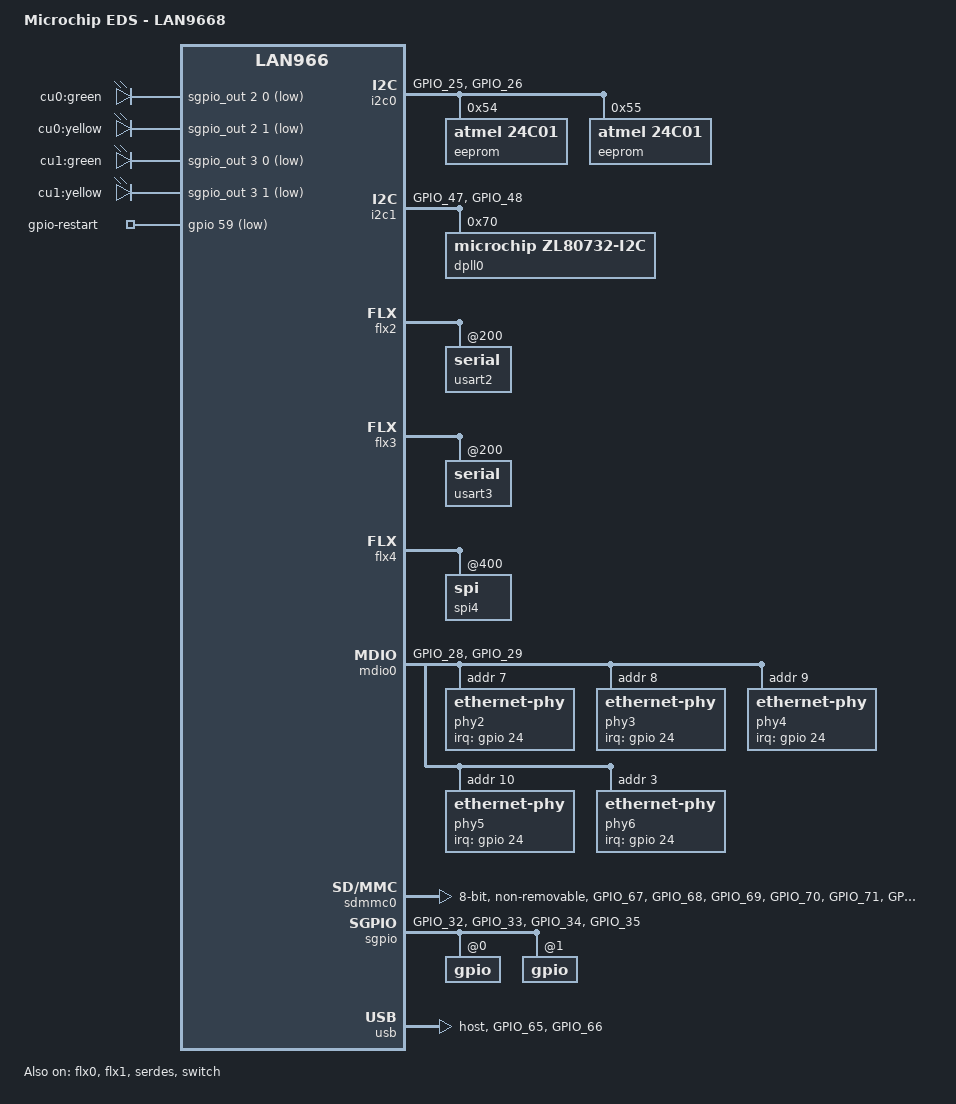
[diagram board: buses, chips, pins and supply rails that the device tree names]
// SPDX-License-Identifier: (GPL-2.0+ OR MIT)
/*
 * lan966x-pcb8385.dts - Device Tree file for LAN966X-PCB8385 board
 *
 * Copyright (C) 2022 Microchip Technology Inc. and its subsidiaries
 *
 * Author: Horatiu Vultur <horatiu.vultur@microchip.com>
 * Author: Jerry Ray <jerry.ray@microchip.com>
 */
/dts-v1/;

#include "lan966x.dtsi"
#include "dt-bindings/phy/phy-lan966x-serdes.h"

/ {
	model = "Microchip EDS - LAN9668";
	compatible = "microchip,lan9668-pcb8385", "microchip,lan9668", "microchip,lan966";

	chosen {
		stdout-path = "serial0:115200n8";
	};

	aliases {
		serial0 = &usart3;
		serial1 = &usart2;
	};

	leds {
		compatible = "gpio-leds";

		led-p1-green {
			label = "cu0:green";
			gpios = <&sgpio_out 2 0 GPIO_ACTIVE_LOW>;
			default-state = "off";
			linux,default-trigger = "e200413c.mdio-mii:01:link";
		};

		led-p1-yellow {
			label = "cu0:yellow";
			gpios = <&sgpio_out 2 1 GPIO_ACTIVE_LOW>;
			default-state = "off";
		};

		led-p2-green {
			label = "cu1:green";
			gpios = <&sgpio_out 3 0 GPIO_ACTIVE_LOW>;
			default-state = "off";
			linux,default-trigger = "e200413c.mdio-mii:02:link";
		};

		led-p2-yellow {
			label = "cu1:yellow";
			gpios = <&sgpio_out 3 1 GPIO_ACTIVE_LOW>;
			default-state = "off";
		};
	};

	gpio-restart {
		compatible = "gpio-restart";
		gpios = <&gpio 59 GPIO_ACTIVE_LOW>;
		open-source;
		priority = <200>;
	};
};

&aes {
	status = "disabled"; /* Reserved by secure OS */
};

&gpio {
	emmc_sd_pins: emmc-sd-pins {
		/* eMMC_SD - CMD, CLK, D0, D1, D2, D3, RSTN */
		pins = "GPIO_67", "GPIO_68", "GPIO_69", "GPIO_70",
			"GPIO_71", "GPIO_72", "GPIO_77";
		function = "emmc_sd";
	};

	emmc_pins: emmc-pins {
		/* eMMC - D4, D5, D6, D7 */
		pins = "GPIO_73", "GPIO_74", "GPIO_75", "GPIO_76";
		function = "emmc";
	};

	fc0_b_pins: fc0-b-pins {
		/* SCL, SDA */
		pins = "GPIO_25", "GPIO_26";
		function = "fc0_b";
	};

	fc1_c_pins: fc1-c-pins {
		/* SCL, SDA */
		pins = "GPIO_47", "GPIO_48";
		function = "fc1_c";
	};

	fc2_b_pins: fc2-b-pins {
		/* RX, TX */
		pins = "GPIO_44", "GPIO_45";
		function = "fc2_b";
	};

	fc3_b_pins: fc3-b-pins {
		/* RX, TX */
		pins = "GPIO_52", "GPIO_53";
		function = "fc3_b";
	};

	fc4_b_pins: fc4-b-pins {
		/* SCK, MISO, MOSI */
		pins = "GPIO_56", "GPIO_57", "GPIO_58";
		function = "fc4_b";
	};

	fc_shrd13_pins: fc-shrd13-pins {
		pins = "GPIO_62";
		function = "fc_shrd13";
	};

	miim_a_pins: mdio-pins {
		/* MDC, MDIO */
		pins =  "GPIO_28", "GPIO_29";
		function = "miim_a";
	};

	sgpio_a_pins: sgpio-a-pins {
		/* SCK, D0, D1, LD */
		pins = "GPIO_32", "GPIO_33", "GPIO_34", "GPIO_35";
		function = "sgpio_a";
	};

	usb_host_a_pins: usb_host_a_pins {
		pins = "GPIO_65", "GPIO_66";
		function = "usb_host_a";
	};
};

&flx0 {
	atmel,flexcom-mode = <ATMEL_FLEXCOM_MODE_TWI>;
	status = "okay";

	i2c0: i2c@600 {
		pinctrl-0 = <&fc0_b_pins>;
		pinctrl-names = "default";
		dmas = <0>, <0>;
		i2c-analog-filter;
		i2c-digital-filter;
		i2c-digital-filter-width-ns = <35>;
		i2c-sda-hold-time-ns = <1500>;
		status = "okay";
	};
};

&flx1 {
	atmel,flexcom-mode = <ATMEL_FLEXCOM_MODE_TWI>;
	status = "okay";

	i2c1: i2c@600 {
		pinctrl-0 = <&fc1_c_pins>;
		pinctrl-names = "default";
		dmas = <0>, <0>;
		i2c-analog-filter;
		i2c-digital-filter;
		i2c-digital-filter-width-ns = <35>;
		i2c-sda-hold-time-ns = <1500>;
		status = "okay";

		dpll0: dpll@70 {
			compatible = "microchip,zl80732-i2c";
			reg = <0x70>;
			#address-cells = <0>;
			#size-cells = <0>;
			status = "okay";

			dpll-types = "eec", "pps";
		};
	};
};

&flx2 {
	atmel,flexcom-mode = <ATMEL_FLEXCOM_MODE_USART>;
	status = "okay";

	usart2: serial@200 {
		pinctrl-0 = <&fc2_b_pins>;
		pinctrl-names = "default";
		status = "okay";
	};
};

&flx3 {
	atmel,flexcom-mode = <ATMEL_FLEXCOM_MODE_USART>;
	status = "okay";

	usart3: serial@200 {
		pinctrl-0 = <&fc3_b_pins>;
		pinctrl-names = "default";
		status = "okay";
	};
};

&flx4 {
	atmel,flexcom-mode = <ATMEL_FLEXCOM_MODE_SPI>;
	status = "okay";

	spi4: spi@400 {
		clock-names = "spi_clk";
		pinctrl-0 = <&fc4_b_pins>, <&fc_shrd13_pins>;
		pinctrl-names = "default";
		cs-gpios = <&gpio 62 GPIO_ACTIVE_LOW>;
		dmas = <0>, <0>;
		status = "okay";
	};
};

&i2c0 {
	eeprom@54 {
		compatible = "atmel,24c01";
		reg = <0x54>;
		status = "okay";
	};

	eeprom@55 {
		compatible = "atmel,24c01";
		reg = <0x55>;
		status = "okay";
	};

	/* UCS2113 at 0x57 */
};

&mdio0 {
	pinctrl-0 = <&miim_a_pins>;
	pinctrl-names = "default";
	status = "okay";

	phy2: ethernet-phy@7 {
		reg = <7>;
		interrupts = <24 IRQ_TYPE_LEVEL_LOW>;
		interrupt-parent = <&gpio>;
		microchip,1588-clock-freq = <125000000>;
	};
	phy3: ethernet-phy@8 {
		reg = <8>;
		interrupts = <24 IRQ_TYPE_LEVEL_LOW>;
		interrupt-parent = <&gpio>;
		microchip,1588-clock-freq = <125000000>;
	};
	phy4: ethernet-phy@9 {
		reg = <9>;
		interrupts = <24 IRQ_TYPE_LEVEL_LOW>;
		interrupt-parent = <&gpio>;
		microchip,1588-clock-freq = <125000000>;
	};
	phy5: ethernet-phy@10 {
		reg = <10>;
		interrupts = <24 IRQ_TYPE_LEVEL_LOW>;
		interrupt-parent = <&gpio>;
		microchip,1588-clock-freq = <125000000>;
	};
	phy6: ethernet-phy@3 {
		reg = <3>;
		interrupts = <24 IRQ_TYPE_LEVEL_LOW>;
		interrupt-parent = <&gpio>;
	};
};

&port0 {
	reg = <2>;
	status = "okay";
	phy-handle = <&phy4>;
	phy-mode = "qsgmii";
	phys = <&serdes 0 SERDES6G(1)>;
};

&port1 {
	reg = <3>;
	status = "okay";
	phy-handle = <&phy5>;
	phy-mode = "qsgmii";
	phys = <&serdes 1 SERDES6G(1)>;
};

&port2 {
	reg = <0>;
	status = "okay";
	phy-handle = <&phy2>;
	phy-mode = "qsgmii";
	phys = <&serdes 3 SERDES6G(1)>;
};

&port3 {
	reg = <1>;
	status = "okay";
	phy-handle = <&phy3>;
	phy-mode = "qsgmii";
	phys = <&serdes 3 SERDES6G(1)>;
};

&port6 {
	reg = <6>;
	status = "okay";
	phy-handle = <&phy6>;
	phy-mode = "rgmii-id";
	phys = <&serdes 6 RGMII(1)>;
};

&sdmmc0 {
	bus-width = <8>;
	cap-mmc-highspeed;
	cap-mmc-hw-reset;
	non-removable;
	pinctrl-0 = <&emmc_sd_pins>, <&emmc_pins>;
	pinctrl-names = "default";
	no-1-8-v;
	tx-phase = <0>; /* 180 degrees phase shift */
	status = "okay";
};

&serdes {
	status = "okay";
	microchip,s1-tx-inverted;
};

&sgpio {
	pinctrl-0 = <&sgpio_a_pins>;
	pinctrl-names = "default";
	microchip,sgpio-port-ranges = <0 3>;
	status = "okay";

	gpio@0 {
		ngpios = <64>;
	};
	gpio@1 {
		ngpios = <64>;
	};
};

&spi4 {
	spidev: spidev@0 {
		compatible = "linux,spidev";
		reg = <0>;
		spi-max-frequency = <2000000>;
		status = "okay";
	};
};

&switch {
	status = "okay";
};

&usb {
	dr_mode = "host";
	pinctrl-0 = <&usb_host_a_pins>;
	pinctrl-names = "default";
	status = "okay";
};

&dpll0 {
	input-pins {
		#address-cells = <1>;
		#size-cells = <0>;

		pin@0 { /* REF0P */
			compatible = "dpll-pin";
			reg = <0>;

			label = "SyncE IN M1 CLK1";
			type = "ext";
			supported-frequencies = /bits/ 64 <2500000 25000000>;
		};
		pin@1 { /* REF0N */
			compatible = "dpll-pin";
			reg = <1>;

			label = "SyncE IN M1 CLK2";
			type = "ext";
			supported-frequencies = /bits/ 64 <2500000 25000000>;
		};
		pin@2 { /* REF1P */
			compatible = "dpll-pin";
			reg = <2>;

			label = "SyncE IN M2 CLK1";
			supported-frequencies = /bits/ 64 <2500000 25000000>;
		};
		pin@3 { /* REF1N */
			compatible = "dpll-pin";
			reg = <3>;

			label = "SyncE IN M2 CLK2";
			type = "ext";
			supported-frequencies = /bits/ 64 <2500000 25000000>;
		};
		pin@4 { /* REF2P */
			compatible = "dpll-pin";
			reg = <4>;

			label = "Station CLK IN";
			type = "ext";
			supported-frequencies = /bits/ 64 <10000000>;
		};
		pin@5 { /* REF2N */
			compatible = "dpll-pin";
			reg = <5>;

			label = "1PPS IN";
			type = "ext";
			supported-frequencies = /bits/ 64 <1>;
		};
		pin@7 { /* REF3N */
			compatible = "dpll-pin";
			reg = <7>;

			label = "Feedb 1PPS IN";
			type = "ext";
			supported-frequencies = /bits/ 64 <1>;
		};
		pin@8 { /* REF4P */
			compatible = "dpll-pin";
			reg = <8>;

			label = "Feedb 25M IN";
			type = "ext";
			supported-frequencies = /bits/ 64 <25000000>;
		};
		pin@9 { /* REF4N */
			compatible = "dpll-pin";
			reg = <9>;

			label = "REF_TEST 10M";
			type = "ext";
			supported-frequencies = /bits/ 64 <10000000 25000000>;
			esync-control;
		};
	};

	output-pins {
		#address-cells = <1>;
		#size-cells = <0>;

		pin@0 { /* OUT0P */
			compatible = "dpll-pin";
			reg = <0>;

			label = "Feedb 25M OUT";
			type = "gnss";
			supported-frequencies = /bits/ 64 <25000000>;
		};
		pin@1 { /* OUT0N */
			compatible = "dpll-pin";
			reg = <1>;

			label = "1PPS OUT";
			type = "gnss";
			supported-frequencies = /bits/ 64 <1>;
		};
		pin@2 { /* OUT1P */
			compatible = "dpll-pin";
			reg = <2>;

			label = "1PPS M1 OUT";
			type = "gnss";
			supported-frequencies = /bits/ 64 <1>;
		};
		pin@3 { /* OUT1N */
			compatible = "dpll-pin";
			reg = <3>;

			label = "1PPS M2 OUT";
			type = "gnss";
			supported-frequencies = /bits/ 64 <1>;
		};
		pin@4 { /* OUT2P */
			compatible = "dpll-pin";
			reg = <4>;

			label = "Station CLK OUT";
			type = "gnss";
			supported-frequencies = /bits/ 64 <2048000 10000000>;
			esync-control;
		};
		pin@6 { /* OUT3P & OUT3N LVDS */
			compatible = "dpll-pin";
			reg = <6>;

			label = "CLK125M1 OUT";
			type = "gnss";
			supported-frequencies = /bits/ 64 <125000000>;
		};
		pin@8 { /* OUT4P & OUT4N LVDS */
			compatible = "dpll-pin";
			reg = <8>;

			label = "CLK125M2 OUT";
			type = "gnss";
			supported-frequencies = /bits/ 64 <125000000>;
		};
		pin@12 { /* OUT6P & OUT6N LVDS */
			compatible = "dpll-pin";
			reg = <12>;

			label = "SyncE Local OUT";
			type = "gnss";
			supported-frequencies = /bits/ 64 <125000000>;
		};
		pin@14 { /* OUT7P & OUT7N LVDS */
			compatible = "dpll-pin";
			reg = <14>;

			label = "SyncE Diff M1 OUT";
			type = "gnss";
			supported-frequencies = /bits/ 64 <125000000>;
		};
		pin@16 { /* OUT8P & OUT8N LVDS */
			compatible = "dpll-pin";
			reg = <16>;

			label = "SyncE Diff M2 OUT";
			type = "gnss";
			supported-frequencies = /bits/ 64 <125000000>;
		};
		pin@18 { /* OUT9P */
			compatible = "dpll-pin";
			reg = <18>;

			label = "SyncE M1 OUT";
			type = "gnss";
			supported-frequencies = /bits/ 64 <125000000>;
		};
		pin@19 { /* OUT9N */
			compatible = "dpll-pin";
			reg = <19>;

			label = "SyncE M2 OUT";
			type = "gnss";
			supported-frequencies = /bits/ 64 <125000000>;
		};
	};
};
